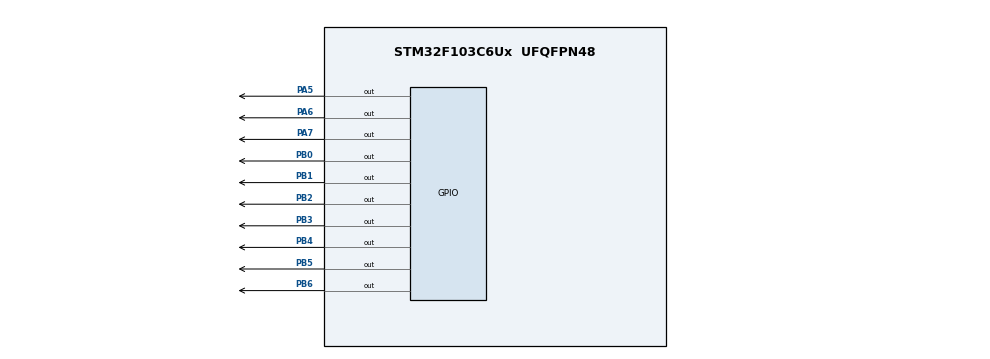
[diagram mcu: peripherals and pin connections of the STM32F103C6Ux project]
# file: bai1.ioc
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Mcu.Family=STM32F1
Mcu.Name=STM32F103C6Ux
Mcu.Package=UFQFPN48
NVIC.PriorityGroup=NVIC_PRIORITYGROUP_4
NVIC.TIM2_IRQn=true\:0\:0\:false\:false\:true\:true\:true
PA5.Signal=GPIO_Output
PA6.Signal=GPIO_Output
PA7.Signal=GPIO_Output
PB0.Signal=GPIO_Output
PB1.Signal=GPIO_Output
PB2.Signal=GPIO_Output
PB3.Signal=GPIO_Output
PB4.Signal=GPIO_Output
PB5.Signal=GPIO_Output
PB6.Signal=GPIO_Output
ProjectManager.HeapSize=0x200
ProjectManager.StackSize=0x400
ProjectManager.TargetToolchain=STM32CubeIDE
RCC.APB1Freq_Value=8000000
RCC.APB2Freq_Value=8000000
TIM2.Period=9
TIM2.Prescaler=7999
VP_SYS_VS_ND.Mode=No_Debug
VP_TIM2_VS_ClockSourceINT.Mode=Internal
board=custom

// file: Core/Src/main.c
/* USER CODE BEGIN Header */
/**
  ******************************************************************************
  * @file           : main.c
  * @brief          : Main program body
  ******************************************************************************
  * @attention
  *
  * <h2><center>&copy; Copyright (c) 2026 STMicroelectronics.
  * All rights reserved.</center></h2>
  *
  * This software component is licensed by ST under BSD 3-Clause license,
  * the "License"; You may not use this file except in compliance with the
  * License. You may obtain a copy of the License at:
  *                        opensource.org/licenses/BSD-3-Clause
  *
  ******************************************************************************
  */
/* USER CODE END Header */
#include "main.h"

TIM_HandleTypeDef htim2;

void SystemClock_Config(void);
static void MX_GPIO_Init(void);
static void MX_TIM2_Init(void);

/* USER CODE BEGIN 0 */
int counter = 0;
int led_index = 0;

void display7SEG(int num)
{
    // Tắt tất cả segment trước
    HAL_GPIO_WritePin(GPIOB, GPIO_PIN_0 | GPIO_PIN_1 |
                             GPIO_PIN_2 | GPIO_PIN_3 |
                             GPIO_PIN_4 | GPIO_PIN_5 |
                             GPIO_PIN_6, GPIO_PIN_SET);

    switch(num)
    {
        case 1:
            // 1 = b, c
            HAL_GPIO_WritePin(GPIOB,
                              GPIO_PIN_1 | GPIO_PIN_2,
                              GPIO_PIN_RESET);
            break;

        case 2:
            // 2 = a, b, d, e, g
            HAL_GPIO_WritePin(GPIOB,
                              GPIO_PIN_0 | GPIO_PIN_1 |
                              GPIO_PIN_3 | GPIO_PIN_4 |
                              GPIO_PIN_6,
                              GPIO_PIN_RESET);
            break;

        default:
            break;
    }
}

void selectLED(int index)
{
    // Tắt cả 2 LED trước
    HAL_GPIO_WritePin(GPIOA, GPIO_PIN_6 | GPIO_PIN_7, GPIO_PIN_SET);

    if(index == 0)
    {
        // Bật LED 1
        HAL_GPIO_WritePin(GPIOA, GPIO_PIN_6, GPIO_PIN_RESET);
    }
    else if(index == 1)
    {
        // Bật LED 2
        HAL_GPIO_WritePin(GPIOA, GPIO_PIN_7, GPIO_PIN_RESET);
    }
}
/* USER CODE END 0 */

int main(void)
{

  /* MCU Configuration--------------------------------------------------------*/

  /* Reset of all peripherals, Initializes the Flash interface and the Systick. */
  HAL_Init();

  /* Configure the system clock */
  SystemClock_Config();

  /* Initialize all configured peripherals */
  MX_GPIO_Init();
  MX_TIM2_Init();
  /* USER CODE BEGIN 2 */
  HAL_TIM_Base_Start_IT (& htim2 ) ;

  selectLED(0);
  display7SEG(1);
  /* USER CODE END 2 */

  /* Infinite loop */
  while (1)
  {

  }
}

void SystemClock_Config(void)
{
  RCC_OscInitTypeDef RCC_OscInitStruct = {0};
  RCC_ClkInitTypeDef RCC_ClkInitStruct = {0};

  /** Initializes the RCC Oscillators according to the specified parameters
  * in the RCC_OscInitTypeDef structure.
  */
  RCC_OscInitStruct.OscillatorType = RCC_OSCILLATORTYPE_HSI;
  RCC_OscInitStruct.HSIState = RCC_HSI_ON;
  RCC_OscInitStruct.HSICalibrationValue = RCC_HSICALIBRATION_DEFAULT;
  RCC_OscInitStruct.PLL.PLLState = RCC_PLL_NONE;
  if (HAL_RCC_OscConfig(&RCC_OscInitStruct) != HAL_OK)
  {
    Error_Handler();
  }
  /** Initializes the CPU, AHB and APB buses clocks
  */
  RCC_ClkInitStruct.ClockType = RCC_CLOCKTYPE_HCLK|RCC_CLOCKTYPE_SYSCLK
                              |RCC_CLOCKTYPE_PCLK1|RCC_CLOCKTYPE_PCLK2;
  RCC_ClkInitStruct.SYSCLKSource = RCC_SYSCLKSOURCE_HSI;
  RCC_ClkInitStruct.AHBCLKDivider = RCC_SYSCLK_DIV1;
  RCC_ClkInitStruct.APB1CLKDivider = RCC_HCLK_DIV1;
  RCC_ClkInitStruct.APB2CLKDivider = RCC_HCLK_DIV1;

  if (HAL_RCC_ClockConfig(&RCC_ClkInitStruct, FLASH_LATENCY_0) != HAL_OK)
  {
    Error_Handler();
  }
}

static void MX_TIM2_Init(void)
{

  TIM_ClockConfigTypeDef sClockSourceConfig = {0};
  TIM_MasterConfigTypeDef sMasterConfig = {0};

  htim2.Instance = TIM2;
  htim2.Init.Prescaler = 7999;
  htim2.Init.CounterMode = TIM_COUNTERMODE_UP;
  htim2.Init.Period = 9;
  htim2.Init.ClockDivision = TIM_CLOCKDIVISION_DIV1;
  htim2.Init.AutoReloadPreload = TIM_AUTORELOAD_PRELOAD_DISABLE;
  if (HAL_TIM_Base_Init(&htim2) != HAL_OK)
  {
    Error_Handler();
  }
  sClockSourceConfig.ClockSource = TIM_CLOCKSOURCE_INTERNAL;
  if (HAL_TIM_ConfigClockSource(&htim2, &sClockSourceConfig) != HAL_OK)
  {
    Error_Handler();
  }
  sMasterConfig.MasterOutputTrigger = TIM_TRGO_RESET;
  sMasterConfig.MasterSlaveMode = TIM_MASTERSLAVEMODE_DISABLE;
  if (HAL_TIMEx_MasterConfigSynchronization(&htim2, &sMasterConfig) != HAL_OK)
  {
    Error_Handler();
  }

}

static void MX_GPIO_Init(void)
{
  GPIO_InitTypeDef GPIO_InitStruct = {0};

  /* GPIO Ports Clock Enable */
  __HAL_RCC_GPIOA_CLK_ENABLE();
  __HAL_RCC_GPIOB_CLK_ENABLE();

  /*Configure GPIO pin Output Level */
  HAL_GPIO_WritePin(GPIOA, GPIO_PIN_5|GPIO_PIN_6|GPIO_PIN_7, GPIO_PIN_RESET);

  /*Configure GPIO pin Output Level */
  HAL_GPIO_WritePin(GPIOB, GPIO_PIN_0|GPIO_PIN_1|GPIO_PIN_2|GPIO_PIN_3
                          |GPIO_PIN_4|GPIO_PIN_5|GPIO_PIN_6, GPIO_PIN_RESET);

  /*Configure GPIO pins : PA5 PA6 PA7 */
  GPIO_InitStruct.Pin = GPIO_PIN_5|GPIO_PIN_6|GPIO_PIN_7;
  GPIO_InitStruct.Mode = GPIO_MODE_OUTPUT_PP;
  GPIO_InitStruct.Pull = GPIO_NOPULL;
  GPIO_InitStruct.Speed = GPIO_SPEED_FREQ_LOW;
  HAL_GPIO_Init(GPIOA, &GPIO_InitStruct);

  /*Configure GPIO pins : PB0 PB1 PB2 PB3
                           PB4 PB5 PB6 */
  GPIO_InitStruct.Pin = GPIO_PIN_0|GPIO_PIN_1|GPIO_PIN_2|GPIO_PIN_3
                          |GPIO_PIN_4|GPIO_PIN_5|GPIO_PIN_6;
  GPIO_InitStruct.Mode = GPIO_MODE_OUTPUT_PP;
  GPIO_InitStruct.Pull = GPIO_NOPULL;
  GPIO_InitStruct.Speed = GPIO_SPEED_FREQ_LOW;
  HAL_GPIO_Init(GPIOB, &GPIO_InitStruct);

}

/* USER CODE BEGIN 4 */
void HAL_TIM_PeriodElapsedCallback ( TIM_HandleTypeDef * htim ){
	if(htim->Instance == TIM2)
	    {
	        counter++;

	        // 10 ms × 50 = 500 ms
	        if(counter >= 50)
	        {
	            counter = 0;

	            // Đổi LED
	            if(led_index == 0)
	            {
	                led_index = 1;

	                selectLED(1);
	                display7SEG(2);
	            }
	            else
	            {
	                led_index = 0;

	                selectLED(0);
	                display7SEG(1);
	            }
	        }
	    }
}
/* USER CODE END 4 */

void Error_Handler(void)
{
  __disable_irq();
  while (1)
  {
  }
}

/************************ (C) COPYRIGHT STMicroelectronics *****END OF FILE****/
